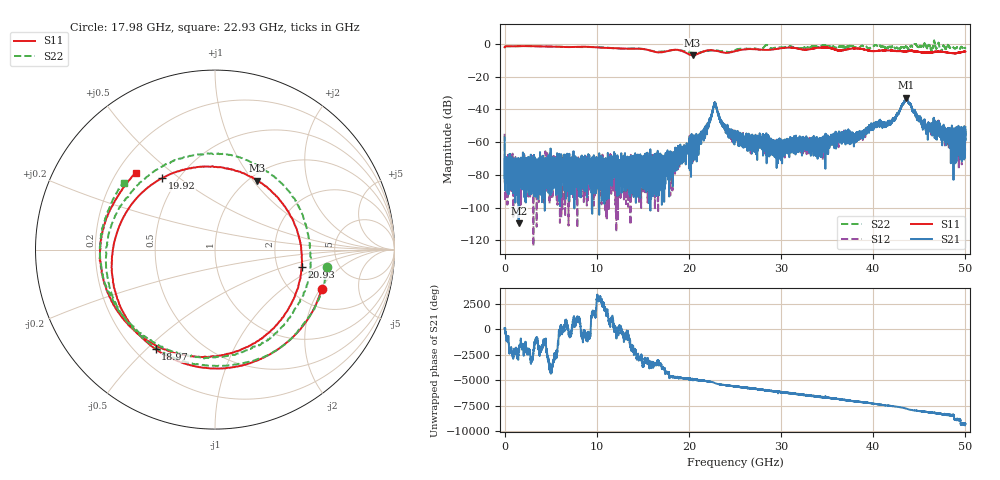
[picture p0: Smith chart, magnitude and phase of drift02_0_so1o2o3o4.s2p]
!Created with skrf (http://scikit-rf.org).
# Hz S RI R 50.0
!freq ReS11 ImS11 ReS21 ImS21 ReS12 ImS12 ReS22 ImS22
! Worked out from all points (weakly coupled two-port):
!   10001 points, 300 kHz to 50 GHz, reference 50 ohm
!   highest |S21| = -32.93 dB at 43.6 GHz (marker M1); lowest = -109.7 dB at 1.525 GHz (marker M2)
!   lowest |S11| = -6.9 dB at 20.4 GHz (marker M3), VSWR 2.64, Z = 54.4 + j52.4 ohm
!   |S11| at or under -10 dB: nowhere
!   |S22| runs from -5.7 to 2.1 dB; largest |S21 - S12| = 0.0034
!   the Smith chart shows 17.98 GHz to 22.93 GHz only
!   S11 on the Smith chart (normalised r, x): 17.98 GHz: 2.81, -2.05; 18.97 GHz: 0.28, -0.53; 19.92 GHz: 0.41, +0.44; 20.93 GHz: 2.74, -0.69; 22.93 GHz: 0.27, +0.38
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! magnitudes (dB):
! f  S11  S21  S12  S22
! 300 kHz  -2.1  -57.1  -54.9  -2.1
! 260.3 MHz  -1.4  -70.1  -73.0  -1.4
! 1.525 GHz  -1.4  -109.7  -74.7  -1.4
! 8.335 GHz  -1.7  -76.5  -80.2  -1.9
! 16.67 GHz  -5.2  -75.6  -76.4  -4.8
! 17.98 GHz  -4.0  -73.9  -92.7  -4.0
! 18.97 GHz  -3.8  -66.5  -65.7  -3.9
! 19.92 GHz  -6.1  -63.9  -63.0  -5.1
! 20.4 GHz  -6.9  -60.4  -57.7  -5.5
! 20.93 GHz  -6.2  -60.4  -58.4  -5.6
! 22.93 GHz  -4.2  -37.6  -37.5  -4.0
! 23.71 GHz  -5.3  -48.9  -50.2  -4.5
! 25 GHz  -4.5  -56.1  -55.8  -3.9
! 29.72 GHz  -2.9  -69.4  -64.6  -2.2
! 33.34 GHz  -3.0  -64.1  -62.3  -1.5
! 38.06 GHz  -2.8  -58.3  -57.5  -2.3
! 41.67 GHz  -4.0  -48.0  -48.7  -1.8
! 43.6 GHz  -4.3  -32.9  -33.2  -1.7
! 45.84 GHz  -5.4  -50.5  -51.4  -2.8
! 48.55 GHz  -5.6  -53.7  -58.8  -1.4
! 49.71 GHz  -4.9  -58.1  -56.6  -2.5
! 50 GHz  -4.7  -50.9  -56.2  -2.5
